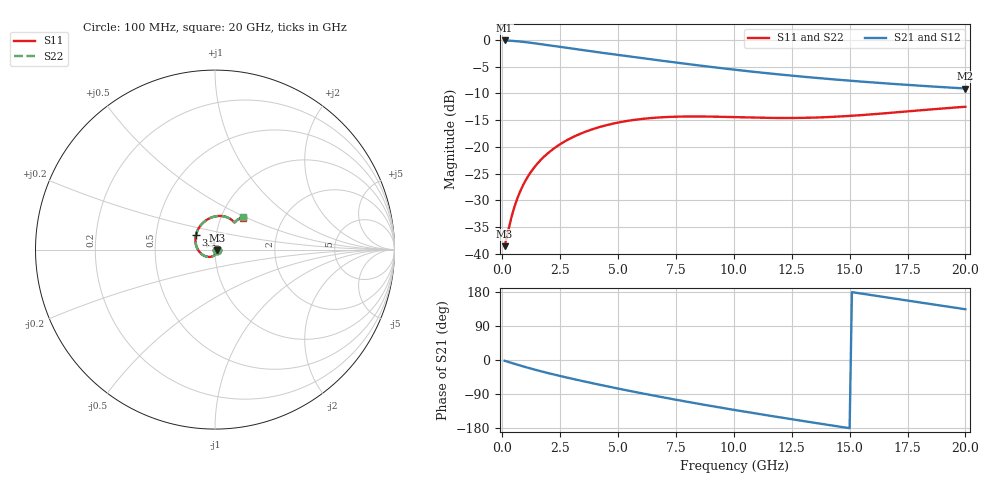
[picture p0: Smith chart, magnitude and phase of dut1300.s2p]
! Touchstone file exported from HFSS 2024.1.0
!  File:  C:/UserFiles/LocalFiles/RDL_TSV_Batchsim/temp_RDL_TSV_1300_1780382202.aedt
!  Generated:  02:47:58 PM Jun  2, 2026
!  Design:  RDL_TSV
!  Project:  temp_RDL_TSV_1300_1780382202
!  Setup:  Setup1
!  Solution:  Sweep
! Variables:
!  dtsv = 13.76um
!  hbump = 3um
!  htsv = 68.19um
!  ldown = 232.09um
!  lrdl = 694.89um
!  p = 40
!  p1 = 41.49um
!  rhole = 10um
!  subl = 3475.83um
!  t = 450um
!  tdown = 4.85um
!  trdl = 4.55um
!  viad = 10um
!  wdown = 24.18um
!  wrdl = 27.02um
!  xbump = 18um
# GHz S MA R 50.000000
! Terminal data exported
! Port[1] = TM1_1_T1
! Port[2] = TM1_4_T1
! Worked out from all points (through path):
!   200 points, 100 MHz to 20 GHz, reference 50 ohm
!   highest |S21| = -0.10 dB at 100 MHz (marker M1); lowest = -9.1 dB at 20 GHz (marker M2)
!   group delay of S21, straight-line fit = 30 ps
!   lowest |S11| = -38.6 dB at 100 MHz (marker M3), VSWR 1.02, Z = 51.1 - j0.459 ohm
!   |S11| at or under -10 dB: start of sweep to end of sweep
!   |S22| runs from -38.6 to -12.5 dB; largest |S21 - S12| = 9.2e-15
!   S11 on the Smith chart (normalised r, x): 100 MHz: 1.02, -0.01; 3.4 GHz: 0.80, +0.13; 20 GHz: 1.27, +0.48
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0.1  0.01179 -22.4  0.9883 -2.0  0.9883 -2.0  0.01179 -22.4
! Gamma 0 0 0 0
! Port Impedance 50 0 50 0
0.4  0.02222 -73.6  0.9802 -7.7  0.9802 -7.7  0.02222 -73.6
0.6  0.03078 -94.2  0.973 -11.4  0.973 -11.4  0.03079 -94.2
0.9  0.0439 -116.8  0.959 -16.9  0.959 -16.9  0.04391 -116.8
1.2  0.05676 -134.9  0.942 -22.1  0.942 -22.1  0.05675 -134.9
1.6  0.07308 -155.1  0.9169 -28.6  0.9169 -28.6  0.07306 -155.1
2.1  0.09199 -176.3  0.8844 -36.4  0.8844 -36.4  0.09195 -176.2
2.7  0.1125 162.7  0.8469 -45.1  0.8469 -45.1  0.1124 162.7
3.4  0.1334 142.7  0.8063 -54.7  0.8063 -54.7  0.1332 142.7
3.5  0.1361 140.1  0.8008 -56.1  0.8008 -56.1  0.136 140.2
4.2  0.1533 124.1  0.7637 -65.3  0.7637 -65.3  0.1531 124.2
5  0.1688 109.0  0.7239 -75.4  0.7239 -75.4  0.1685 109.1
5.9  0.1811 95.1  0.6819 -86.4  0.6819 -86.4  0.1808 95.2
6.8  0.1885 83.9  0.6427 -96.9  0.6427 -96.9  0.1881 84.0
8.4  0.1924 69.4  0.5803 -114.8  0.5803 -114.8  0.192 69.4
10.1  0.1895 60.0  0.5247 -132.5  0.5247 -132.5  0.1891 60.1
11.7  0.1864 55.6  0.4817 -148.5  0.4817 -148.5  0.186 55.7
13.4  0.1876 54.0  0.4445 -164.9  0.4445 -164.9  0.1873 54.2
15  0.1947 53.6  0.4157 -180.0  0.4157 -180.0  0.1945 53.8
16.7  0.2075 52.9  0.3903 164.2  0.3903 164.2  0.2074 53.1
18.4  0.2229 51.3  0.3687 148.6  0.3687 148.6  0.2229 51.4
20  0.2372 48.9  0.3513 133.9  0.3513 133.9  0.2372 49.0
